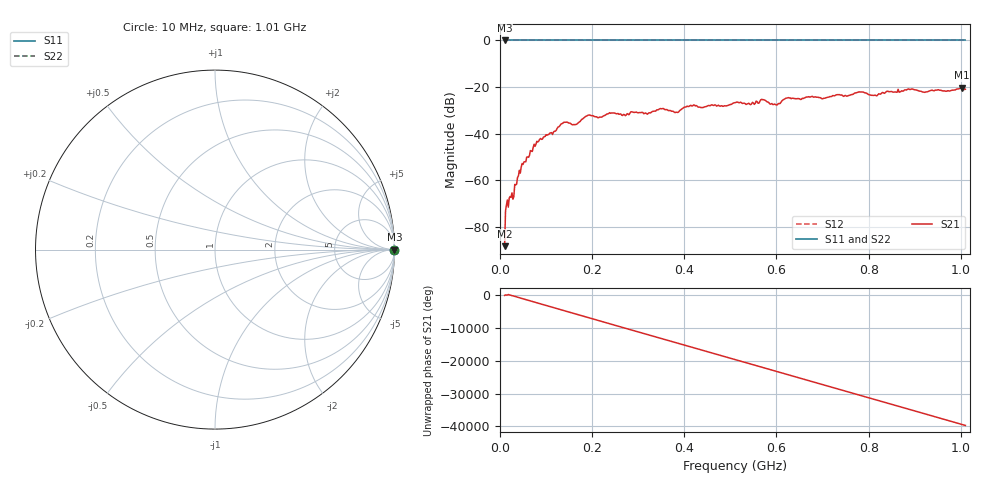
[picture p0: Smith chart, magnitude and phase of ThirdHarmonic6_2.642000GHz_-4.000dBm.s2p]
! 8/17/2025 5:58:25 AM
! C:\ANRITSUVNA\TEMP\TEMP.S2P
! CHANNEL.1
! TR.MEASUREMENT
! RAW.DATA
! RF.CORRECTION.OFF
! AVERAGING.OFF
! IF.BANDWIDTH: 5KHZ
! SWEEPTYPE:  FREQ.SWEEP(Linear)
! Reference Plane Port Info
! PORT:  PORT1  PORT2
! DISTANCE:  0  m  0  m
! TIME:  0  s  0  s
! PHASE.OFFSET:  0  deg.  0  deg.
! LOSS:  0  dB  0  dB
! REF.LOSS:  0  dB  0  dB
! REF.FREQ:  0  Hz  0  Hz
! Power Info
! POWER:  -20  dBm  -20  dBm
! EFF.POWER:  -20  dBm  -20  dBm
! SOURCE.ATTEN:  0  dB  0  dB
! TEST.ATTEN:  0  dB  0  dB
# GHZ S RI R 50.0
! FREQ.GHZ  S11RE  S11IM  S21RE  S21IM  S12RE  S12IM  S22RE  S22IM
!; PortSelection: Port_12
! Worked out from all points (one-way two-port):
!   501 points, 10 MHz to 1.01 GHz, reference 50 ohm
!   highest |S21| = -20.32 dB at 1.002 GHz (marker M1); lowest = -88.3 dB at 10 MHz (marker M2)
!   lowest |S11| = 0.0 dB at 10 MHz (marker M3)
!   |S11| at or under -10 dB: nowhere
!   |S22| runs from 0.0 to 0.0 dB; largest |S21 - S12| = 1.1
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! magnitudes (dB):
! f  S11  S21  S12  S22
! 10 MHz  0.0  -88.3  0.0  0.0
! 16 MHz  0.0  -68.5  0.0  0.0
! 32 MHz  0.0  -61.8  0.0  0.0
! 46 MHz  0.0  -54.4  0.0  0.0
! 76 MHz  0.0  -45.5  0.0  0.0
! 136 MHz  0.0  -35.6  0.0  0.0
! 162 MHz  0.0  -36.2  0.0  0.0
! 178 MHz  0.0  -33.8  0.0  0.0
! 192 MHz  0.0  -32.0  0.0  0.0
! 322 MHz  0.0  -31.2  0.0  0.0
! 344 MHz  0.0  -29.7  0.0  0.0
! 384 MHz  0.0  -30.8  0.0  0.0
! 410 MHz  0.0  -28.4  0.0  0.0
! 510 MHz  0.0  -26.7  0.0  0.0
! 570 MHz  0.0  -25.4  0.0  0.0
! 598 MHz  0.0  -27.5  0.0  0.0
! 622 MHz  0.0  -24.8  0.0  0.0
! 678 MHz  0.0  -24.0  0.0  0.0
! 814 MHz  0.0  -23.5  0.0  0.0
! 844 MHz  0.0  -22.0  0.0  0.0
! 1.002 GHz  0.0  -20.3  0.0  0.0
! 1.01 GHz  0.0  -20.9  0.0  0.0
